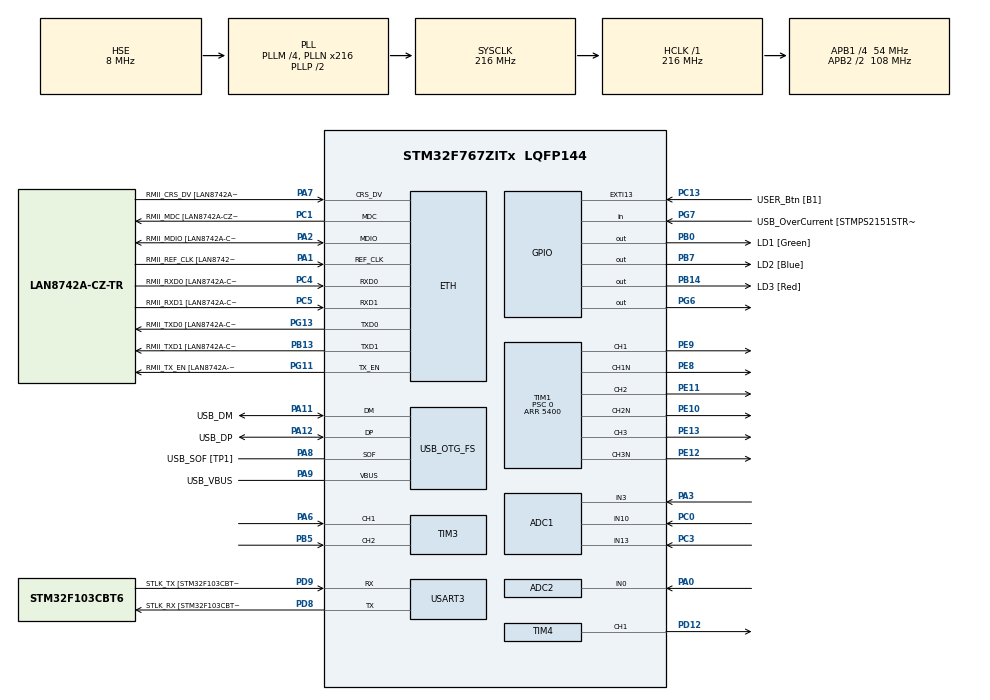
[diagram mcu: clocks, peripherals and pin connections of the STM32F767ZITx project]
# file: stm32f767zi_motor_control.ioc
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ADC1.Channel-4\#ChannelRegularConversion=ADC_CHANNEL_3
ADC1.Channel-5\#ChannelRegularConversion=ADC_CHANNEL_10
ADC1.Channel-6\#ChannelRegularConversion=ADC_CHANNEL_13
ADC1.ContinuousConvMode=ENABLE
ADC1.DMAContinuousRequests=ENABLE
ADC1.DiscontinuousConvMode=DISABLE
ADC1.EOCSelection=ADC_EOC_SEQ_CONV
ADC1.NbrOfConversion=3
ADC1.NbrOfConversionFlag=1
ADC1.Rank-4\#ChannelRegularConversion=1
ADC1.Rank-5\#ChannelRegularConversion=2
ADC1.Rank-6\#ChannelRegularConversion=3
ADC1.SamplingTime-4\#ChannelRegularConversion=ADC_SAMPLETIME_3CYCLES
ADC1.SamplingTime-5\#ChannelRegularConversion=ADC_SAMPLETIME_3CYCLES
ADC1.SamplingTime-6\#ChannelRegularConversion=ADC_SAMPLETIME_3CYCLES
ADC1.ScanConvMode=ADC_SCAN_ENABLE
ADC1.master=1
ADC2.Channel-0\#ChannelRegularConversion=ADC_CHANNEL_0
ADC2.NbrOfConversionFlag=1
ADC2.Rank-0\#ChannelRegularConversion=1
ADC2.Resolution=ADC_RESOLUTION_8B
ADC2.SamplingTime-0\#ChannelRegularConversion=ADC_SAMPLETIME_3CYCLES
Dma.ADC1.0.Direction=DMA_PERIPH_TO_MEMORY
Dma.ADC1.0.FIFOMode=DMA_FIFOMODE_DISABLE
Dma.ADC1.0.Instance=DMA2_Stream0
Dma.ADC1.0.MemDataAlignment=DMA_MDATAALIGN_WORD
Dma.ADC1.0.MemInc=DMA_MINC_ENABLE
Dma.ADC1.0.Mode=DMA_CIRCULAR
Dma.ADC1.0.PeriphDataAlignment=DMA_PDATAALIGN_WORD
Dma.ADC1.0.PeriphInc=DMA_PINC_DISABLE
Dma.ADC1.0.Priority=DMA_PRIORITY_LOW
Dma.Request0=ADC1
ETH.MediaInterface=HAL_ETH_RMII_MODE
ETH.PHY_Name=LAN8742A_PHY_ADDRESS
ETH.PHY_Value=0
ETH.PhyAddress=0
Mcu.Family=STM32F7
Mcu.Name=STM32F767ZITx
Mcu.Package=LQFP144
NVIC.PriorityGroup=NVIC_PRIORITYGROUP_4
PA0/WKUP.Signal=ADCx_IN0
PA1.GPIO_Label=RMII_REF_CLK [LAN8742A-CZ-TR_REFCLK0]
PA1.Mode=RMII
PA1.Signal=ETH_REF_CLK
PA10.GPIO_Label=USB_ID
PA10.Signal=USB_OTG_FS_ID
PA11.GPIO_Label=USB_DM
PA11.Mode=Device_Only
PA11.Signal=USB_OTG_FS_DM
PA12.GPIO_Label=USB_DP
PA12.Mode=Device_Only
PA12.Signal=USB_OTG_FS_DP
PA13.GPIO_Label=TMS
PA13.Mode=Serial_Wire
PA13.Signal=SYS_JTMS-SWDIO
PA14.GPIO_Label=TCK
PA14.Mode=Serial_Wire
PA14.Signal=SYS_JTCK-SWCLK
PA2.GPIO_Label=RMII_MDIO [LAN8742A-CZ-TR_MDIO]
PA2.Mode=RMII
PA2.Signal=ETH_MDIO
PA3.Signal=ADCx_IN3
PA6.Signal=S_TIM3_CH1
PA7.GPIO_Label=RMII_CRS_DV [LAN8742A-CZ-TR_CRS_DV]
PA7.Mode=RMII
PA7.Signal=ETH_CRS_DV
PA8.GPIO_Label=USB_SOF [TP1]
PA8.Mode=Activate_SOF_FS
PA8.Signal=USB_OTG_FS_SOF
PA9.GPIO_Label=USB_VBUS
PA9.Mode=Activate_VBUS
PA9.Signal=USB_OTG_FS_VBUS
PB0.GPIO_Label=LD1 [Green]
PB0.Signal=GPIO_Output
PB13.GPIO_Label=RMII_TXD1 [LAN8742A-CZ-TR_TXD1]
PB13.Mode=RMII
PB13.Signal=ETH_TXD1
PB14.GPIO_Label=LD3 [Red]
PB14.Signal=GPIO_Output
PB3.GPIO_Label=SWO
PB3.Signal=SYS_JTDO-SWO
PB5.Signal=S_TIM3_CH2
PB7.GPIO_Label=LD2 [Blue]
PB7.Signal=GPIO_Output
PC0.Signal=ADCx_IN10
PC1.GPIO_Label=RMII_MDC [LAN8742A-CZ-TR_MDC]
PC1.Mode=RMII
PC1.Signal=ETH_MDC
PC13.GPIO_Label=USER_Btn [B1]
PC13.Signal=GPXTI13
PC14/OSC32_IN.Mode=LSE-External-Oscillator
PC14/OSC32_IN.Signal=RCC_OSC32_IN
PC15/OSC32_OUT.Mode=LSE-External-Oscillator
PC15/OSC32_OUT.Signal=RCC_OSC32_OUT
PC3.Signal=ADCx_IN13
PC4.GPIO_Label=RMII_RXD0 [LAN8742A-CZ-TR_RXD0]
PC4.Mode=RMII
PC4.Signal=ETH_RXD0
PC5.GPIO_Label=RMII_RXD1 [LAN8742A-CZ-TR_RXD1]
PC5.Mode=RMII
PC5.Signal=ETH_RXD1
PD12.Signal=S_TIM4_CH1
PD8.GPIO_Label=STLK_RX [STM32F103CBT6_PA3]
PD8.Mode=Asynchronous
PD8.Signal=USART3_TX
PD9.GPIO_Label=STLK_TX [STM32F103CBT6_PA2]
PD9.Mode=Asynchronous
PD9.Signal=USART3_RX
PE10.Mode=PWM Generation2 CH2 CH2N
PE10.Signal=TIM1_CH2N
PE11.Signal=S_TIM1_CH2
PE12.Mode=PWM Generation3 CH3 CH3N
PE12.Signal=TIM1_CH3N
PE13.Signal=S_TIM1_CH3
PE8.Mode=PWM Generation1 CH1 CH1N
PE8.Signal=TIM1_CH1N
PE9.Signal=S_TIM1_CH1
PG11.GPIO_Label=RMII_TX_EN [LAN8742A-CZ-TR_TXEN]
PG11.Mode=RMII
PG11.Signal=ETH_TX_EN
PG13.GPIO_Label=RMII_TXD0 [LAN8742A-CZ-TR_TXD0]
PG13.Mode=RMII
PG13.Signal=ETH_TXD0
PG6.Signal=GPIO_Output
PG7.GPIO_Label=USB_OverCurrent [STMPS2151STR_FAULT]
PG7.Signal=GPIO_Input
PH0/OSC_IN.GPIO_Label=MCO [STM32F103CBT6_PA8]
PH0/OSC_IN.Mode=HSE-External-Clock-Source
PH0/OSC_IN.Signal=RCC_OSC_IN
PH1/OSC_OUT.Mode=HSE-External-Clock-Source
PH1/OSC_OUT.Signal=RCC_OSC_OUT
ProjectManager.HeapSize=0x200
ProjectManager.StackSize=0x400
ProjectManager.TargetToolchain=STM32CubeIDE
RCC.48MHZClocksFreq_Value=24000000
RCC.AHBFreq_Value=216000000
RCC.APB1CLKDivider=RCC_HCLK_DIV4
RCC.APB1Freq_Value=54000000
RCC.APB1TimFreq_Value=108000000
RCC.APB2CLKDivider=RCC_HCLK_DIV2
RCC.APB2Freq_Value=108000000
RCC.APB2TimFreq_Value=216000000
RCC.CortexFreq_Value=216000000
RCC.HCLKFreq_Value=216000000
RCC.HSE_VALUE=8000000
RCC.HSI_VALUE=16000000
RCC.PLLM=4
RCC.PLLMUL=RCC_PLL_MUL9
RCC.PLLN=216
RCC.PLLQ=9
RCC.PRESCALERUSB=RCC_USBCLKSOURCE_PLL_DIV1_5
RCC.SYSCLKFreq_VALUE=216000000
RCC.SYSCLKSource=RCC_SYSCLKSOURCE_PLLCLK
RCC.SYSCLKSourceVirtual=RCC_SYSCLKSOURCE_PLLCLK
RCC.USBFreq_Value=48000000
RCC.VCOOutputFreq_Value=432000000
SH.ADCx_IN0.0=ADC2_IN0,IN0
SH.ADCx_IN10.0=ADC1_IN10,IN10
SH.ADCx_IN13.0=ADC1_IN13,IN13
SH.ADCx_IN3.0=ADC1_IN3,IN3
SH.S_TIM1_CH1.0=TIM1_CH1,PWM Generation1 CH1 CH1N
SH.S_TIM1_CH2.0=TIM1_CH2,PWM Generation2 CH2 CH2N
SH.S_TIM1_CH3.0=TIM1_CH3,PWM Generation3 CH3 CH3N
SH.S_TIM3_CH1.0=TIM3_CH1,Encoder_Interface
SH.S_TIM3_CH2.0=TIM3_CH2,Encoder_Interface
SH.S_TIM4_CH1.0=TIM4_CH1,PWM Generation1 CH1
TIM1.AutoReloadPreload=TIM_AUTORELOAD_PRELOAD_ENABLE
TIM1.Channel-PWM\ Generation1\ CH1\ CH1N=TIM_CHANNEL_1
TIM1.Channel-PWM\ Generation2\ CH2\ CH2N=TIM_CHANNEL_2
TIM1.Channel-PWM\ Generation3\ CH3\ CH3N=TIM_CHANNEL_3
TIM1.CounterMode=TIM_COUNTERMODE_CENTERALIGNED3
TIM1.DeadTime=149
TIM1.OCNPolarity_1=TIM_OCNPOLARITY_LOW
TIM1.OCNPolarity_2=TIM_OCNPOLARITY_LOW
TIM1.OCNPolarity_3=TIM_OCNPOLARITY_LOW
TIM1.OCPolarity_1=TIM_OCPOLARITY_LOW
TIM1.OCPolarity_2=TIM_OCPOLARITY_LOW
TIM1.OCPolarity_3=TIM_OCPOLARITY_LOW
TIM1.Period=5400
TIM1.Prescaler=0
TIM2.Prescaler=107
TIM3.AutoReloadPreload=TIM_AUTORELOAD_PRELOAD_ENABLE
TIM3.EncoderMode=TIM_ENCODERMODE_TI12
TIM4.AutoReloadPreload=TIM_AUTORELOAD_PRELOAD_ENABLE
TIM4.Channel-PWM\ Generation1\ CH1=TIM_CHANNEL_1
TIM4.Period=599
TIM4.Prescaler=2999
TIM4.Pulse-PWM\ Generation1\ CH1=150
USART3.VirtualMode-Asynchronous=VM_ASYNC
USB_OTG_FS.VirtualMode=Device_Only
VP_TIM1_VS_ClockSourceINT.Mode=Internal
VP_TIM2_VS_ClockSourceINT.Mode=Internal
VP_TIM4_VS_ClockSourceINT.Mode=Internal
board=NUCLEO-F767ZI

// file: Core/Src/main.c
/* USER CODE BEGIN Header */
/**
 ******************************************************************************
 * @file           : main.c
 * @brief          : VFD open-loop control code by sine wave PWM
 ******************************************************************************
 * @attention
 *
 * Copyright (c) 2025 STMicroelectronics.
 * All rights reserved.
 *
 * This software is licensed under terms that can be found in the LICENSE file
 * in the root directory of this software component.
 * If no LICENSE file comes with this software, it is provided AS-IS.
 *
 * Extended by: Ada Li
 *
 ******************************************************************************
 */
/* USER CODE END Header */
#include "main.h"
#include "string.h"

/* USER CODE BEGIN Includes */
#include "SEGGER_RTT.h"
#include <math.h>
/* USER CODE END Includes */

/* USER CODE BEGIN PTD */
typedef struct {
    float Kp, Ki, Kd;
    float prevError, integral;
    float output, maxOutput, minOutput;
} PIDController;

typedef struct {
    float Kp, Ki;
    float prevError, integral;
    float output, maxOutput, minOutput;
} PIController;
/* USER CODE END PTD */

/* USER CODE BEGIN PD */
// #define NRF_LOG_USES_RTT 1;
/* USER CODE END PD */

#if defined ( __ICCARM__ ) /*!< IAR Compiler */
#pragma location=0x2007c000
ETH_DMADescTypeDef  DMARxDscrTab[ETH_RX_DESC_CNT]; /* Ethernet Rx DMA Descriptors */
#pragma location=0x2007c0a0
ETH_DMADescTypeDef  DMATxDscrTab[ETH_TX_DESC_CNT]; /* Ethernet Tx DMA Descriptors */

#elif defined ( __CC_ARM )  /* MDK ARM Compiler */

__attribute__((at(0x2007c000))) ETH_DMADescTypeDef  DMARxDscrTab[ETH_RX_DESC_CNT]; /* Ethernet Rx DMA Descriptors */
__attribute__((at(0x2007c0a0))) ETH_DMADescTypeDef  DMATxDscrTab[ETH_TX_DESC_CNT]; /* Ethernet Tx DMA Descriptors */

#elif defined ( __GNUC__ ) /* GNU Compiler */

ETH_DMADescTypeDef DMARxDscrTab[ETH_RX_DESC_CNT] __attribute__((section(".RxDecripSection"))); /* Ethernet Rx DMA Descriptors */
ETH_DMADescTypeDef DMATxDscrTab[ETH_TX_DESC_CNT] __attribute__((section(".TxDecripSection")));   /* Ethernet Tx DMA Descriptors */
#endif

ETH_TxPacketConfig TxConfig;

ADC_HandleTypeDef hadc1;
ADC_HandleTypeDef hadc2;
DMA_HandleTypeDef hdma_adc1;

ETH_HandleTypeDef heth;

TIM_HandleTypeDef htim1;
TIM_HandleTypeDef htim2;
TIM_HandleTypeDef htim3;
TIM_HandleTypeDef htim4;

UART_HandleTypeDef huart3;

PCD_HandleTypeDef hpcd_USB_OTG_FS;

/* USER CODE BEGIN PV */
uint32_t AD_RES_BUFFER[3];	// circular buffer, 3 in-use ADC channels

uint32_t ARR = 5400;
const uint32_t N = 600;	// period, ticks per electrical cycle (60 hz / prescale 3000)
// to change frequency, keep ARR constant and vary prescale
const uint32_t phase_shift = N / 3;

// TODO: WARNING: I've repurposed freqset to adjust Rr_Lr!!!!!!!!
const uint32_t freqset_min = 1;
const uint32_t freqset_max = 1000;
uint32_t freqset = freqset_min;

const float volts_to_amps = 24.39;
const int volts_to_milliamps = (int) (volts_to_amps * 1000);

int speed_rpm = 0;
int i1_milliamps = 0;
int i2_milliamps = 0;
int i3_milliamps = 0;

// IFOC variables
const float POWER_RAIL = 100.0f;
float Rr_Lr = 0.7 / 0.003; // ESTIMATE!!
float theta_r = 0;
float theta_s = 0;
float theta_m = 0;
float i_d =  0;
float i_q = 0;
float v_d = 0;
float v_q = 0;
volatile float i_d_des = 0;
volatile float i_q_des = 0;
PIDController speed_pid = { .Kp = 1.0f, .Ki = 0.0f, .Kd = 0.0f, .maxOutput = 100.0f, .minOutput = -100.0f };
PIController vd_pi = { .Kp = 50.0f, .Ki = 0.0f, .maxOutput = 50.0f, .minOutput = -50.0f };
PIController vq_pi = { .Kp = 50.0f, .Ki = 0.0f, .maxOutput = 50.0f, .minOutput = -50.0f };
int16_t encoder_pulses = 0;
int16_t prev_encoder_pulses = 0;
float theta = 0;

/* USER CODE END PV */

void SystemClock_Config(void);
static void MX_GPIO_Init(void);
static void MX_DMA_Init(void);
static void MX_ADC1_Init(void);
static void MX_ETH_Init(void);
static void MX_TIM1_Init(void);
static void MX_USART3_UART_Init(void);
static void MX_USB_OTG_FS_PCD_Init(void);
static void MX_TIM4_Init(void);
static void MX_ADC2_Init(void);
static void MX_TIM2_Init(void);
static void MX_TIM3_Init(void);
/* USER CODE BEGIN PFP */
//int approx_duty_cycle(int x);
float PID_Compute(PIDController *pid, float setpoint, float feedback, float dt);
float PI_Compute(PIController *pi, float setpoint, float feedback, float dt);
/* USER CODE END PFP */

/* USER CODE BEGIN 0 */
/**
 * x between 0 and N/2, where N is the values in a full period
 * return between 0 and ARR-1
 */
//int approx_duty_cycle(int x) {
//	long numerator = (32*N - 64*x)*x;
//	numerator = numerator * (ARR-1) / 3;
//	int denominator = 5*N*N - 8*N*x + 16*x*x;
//	int sine = (int) (numerator / denominator);
//	return ARR / 2 + sine;
//}

/* USER CODE END 0 */

int main(void)
{

  /* USER CODE BEGIN 1 */
	// Initialize the sine wave values
//	int DUTY_CYCLE_VALUES[N];	// At 20kHz PWM, ARR is 5400
//	for (int i = 0; i < N/2; i++) {
//		int dc = approx_duty_cycle(i);
//		DUTY_CYCLE_VALUES[i] = dc;
//		DUTY_CYCLE_VALUES[i + N/2] = -dc;
//		SEGGER_RTT_printf(0, "%u\r\n", dc);
//	}
//	float pi = 3.1415926;
//	for (int i = 0; i < N; i++) {
//		DUTY_CYCLE_VALUES[i] = ARR/2 + (int) ((ARR-1)*sin(2*pi*i / N)/2);
//	}

  /* USER CODE END 1 */

  /* MCU Configuration--------------------------------------------------------*/

  /* Reset of all peripherals, Initializes the Flash interface and the Systick. */
  HAL_Init();

  /* Configure the system clock */
  SystemClock_Config();

  /* Initialize all configured peripherals */
  MX_GPIO_Init();
  MX_DMA_Init();
  MX_ADC1_Init();
  MX_ETH_Init();
  MX_TIM1_Init();
  MX_USART3_UART_Init();
  MX_USB_OTG_FS_PCD_Init();
  MX_TIM4_Init();
  MX_ADC2_Init();
  MX_TIM2_Init();
  MX_TIM3_Init();
  /* USER CODE BEGIN 2 */

	HAL_TIM_PWM_Start(&htim1, TIM_CHANNEL_1);
	HAL_TIMEx_PWMN_Start(&htim1, TIM_CHANNEL_1);
	HAL_TIM_PWM_Start(&htim1, TIM_CHANNEL_2);
	HAL_TIMEx_PWMN_Start(&htim1, TIM_CHANNEL_2);
	HAL_TIM_PWM_Start(&htim1, TIM_CHANNEL_3);
	HAL_TIMEx_PWMN_Start(&htim1, TIM_CHANNEL_3);
	HAL_ADC_Start_DMA(&hadc1, AD_RES_BUFFER, 3);
	HAL_TIM_Encoder_Start(&htim3, TIM_CHANNEL_ALL);
	HAL_TIM_PWM_Start(&htim4, TIM_CHANNEL_1);
	HAL_TIM_Base_Start(&htim2);

  /* USER CODE END 2 */

  /* Infinite loop */
  /* USER CODE BEGIN WHILE */
	uint32_t count = 0;
	TIM2->CNT = 0;

	while (1)
	{
//		uint32_t time_N = TIM4->CNT;
		int i1_raw = AD_RES_BUFFER[0];
		int i2_raw = AD_RES_BUFFER[1];
		int i3_raw = AD_RES_BUFFER[2];

		i1_milliamps = ((i1_raw - 2048) * volts_to_milliamps)/4095;
		i2_milliamps = ((i2_raw - 2048) * volts_to_milliamps)/4095;
		i3_milliamps = ((i3_raw - 2048) * volts_to_milliamps)/4095;

//		TIM1->CCR1 = DUTY_CYCLE_VALUES[time_N];
//		TIM1->CCR2 = DUTY_CYCLE_VALUES[(time_N + phase_shift) % N];
//		TIM1->CCR3 = DUTY_CYCLE_VALUES[(time_N + 2*phase_shift) % N];

		// Write to channel 0, see in J-Link RTT Viewer or telnet client
		if (TIM2->CNT > 50) {	// microseconds
			TIM2->CNT = 0;

			// TODO: take this out of the control loop to a slower loop  or limit execution. Also the ADC reading is super noisy
			HAL_ADC_Start(&hadc2);
			HAL_ADC_PollForConversion(&hadc2, 1);
			uint32_t ad2_res = HAL_ADC_GetValue(&hadc2);	// 0 to 255; linmap to speed 30->120
			freqset = freqset_min + (ad2_res * (freqset_max - freqset_min)) / 255;
			Rr_Lr = freqset;

//			TIM4->PSC = 108000000 / (N * freqset);

			// encoder pulses -> speed
//			int tim3cnt = TIM3->CNT;
//			int encoder_pulses = (tim3cnt < 32768) ? tim3cnt : -(65536-tim3cnt);
			encoder_pulses = TIM3->CNT;
//			prev_encoder_pulses = encoder_pulses;
//			TIM3->CNT = 0;
			int speed_loop_time_micros = TIM2->CNT;
			// Conversion const: 1000000 us/s * 60 s/min / 1200 pulses per rev = 50000
			speed_rpm = (encoder_pulses * 50000) / (speed_loop_time_micros + 1);	// will overflow at > 42948 pulses or 35.79 rev/s or 2147 rpm

			// TODO: REMOVE LATER, for finding Rr_Lr we set d and q currents equal (amps)
			// TODO: Also, we probably need a better force measuring setup than the spring or use the big ps since not enough force
			// TODO: The adc current readings may also be noisy
			i_d_des = 1.0f;
			i_q_des = 1.0f;

			// TODO: Redundant conversion for now (to amps)
			float i_a = (float)i1_milliamps / 1000.0f;
			float i_b = (float)i2_milliamps / 1000.0f;
			float i_c = (float)i3_milliamps / 1000.0f;
			float dt = (float)speed_loop_time_micros / 1000000.0f;

			// Convert to encoder angle (2400 pulses per rev)
			// Then angle * R = 50mm = distance
			// Finally distance / (2 * pitch length) * 2pi = rotor "mechanical angle"
			// TODO: check that this is right (maybe by finding synchronous speed??
			theta_m = (double)encoder_pulses / 2400.0 * 2.0*M_PI * 50.0 / 67.0 * 2.0*M_PI;
			theta_m = fmod(theta_m, 2.0 * M_PI);
			if (theta_m < 0) theta_m += 2.0 * M_PI;

			// https://ww1.microchip.com/downloads/aemdocuments/documents/fpga/ProductDocuments/UserGuides/sf2_mc_park_invpark_clarke_invclarke_transforms_ug.pdf
			// Clarke transform (a, b, c to alpha, beta)
			float i_alpha = 2.0f/3.0f * i_a - 1.0f/3.0f * (i_b - i_c);
			float i_beta = 2.0f/sqrtf(3) * (i_b - i_c);

			// Park transform (d is flux, q is thrust)
			i_d = i_alpha * cosf(theta_r) + i_beta * sinf(theta_r);
			i_q = i_beta * cosf(theta_r) - i_alpha * sinf(theta_r);

			// Then, update rotor flux angle (and keep everything [0, 2pi))
			// TODO: maybe need to multiply Rr_Lr by a few orders of magnitude
			theta_s += (Rr_Lr * i_q / (i_d + 0.000001)) * dt;
			theta_s = fmod(theta_s, 2.0 * M_PI);
			if (theta_s < 0) theta_s += 2.0 * M_PI;

			theta_r = theta_m + theta_s;

			// Run PI loop to get v_d and v_q
			v_d = PI_Compute(&vd_pi, i_d_des, i_d, dt);
			v_q = PI_Compute(&vq_pi, i_q_des, i_q, dt);

			// Get theta_v
			float theta_v = atan2f(v_q, v_d);
			if (theta_v < 0) {
				theta_v += 2.0f * M_PI;  // Convert to [0, 2π)
			}

			// Then add theta_v and theta_r to get the angle of the voltage phasor
			theta = theta_v + theta_r;
			theta = fmod(theta, 2.0 * M_PI);
			if (theta < 0) theta += 2.0 * M_PI;
			float v_magnitude = sqrtf(v_q * v_q + v_d * v_d);
//			theta += M_PI*2 * 100.0f/20000.0f;
//			v_magnitude = 50.0f;

			// NOW, INPUT INTO SVPWM ALGORITHM (the code below is tested and works):

			float duty_cycle_a = 0;
			float duty_cycle_b = 0;
			float duty_cycle_c = 0;

			// Not quite inverse Park transform...
			float v_alpha = v_magnitude/POWER_RAIL * cosf(theta);
			float v_beta = v_magnitude/POWER_RAIL * sinf(theta);

			// Get region (labelled 1-6 CCW from x axis)
			int region;
			if (v_beta > 0) {
				if (v_alpha > 0) {
					if (v_beta > v_alpha * sqrtf(3)) { // Just use basic trig to find if it is in region 1
						region = 2;
					}
					else {
						region = 1; // Covers half of region 2
					}
				}
				else  {
					if (v_beta > -v_alpha * sqrtf(3)) {
						region = 2; // The other half
					}
					else {
						region = 3;
					}
				}
			}
			else {
				if (v_alpha > 0) {
					if (-v_beta > v_alpha * sqrt(3)) {
						region = 5;
					}
					else {
						region = 6;
					}
				}
				else {
					if (-v_beta > -v_alpha * sqrt(3)) {
						region = 5;
					}
					else {
						region = 4;
					}
				}
			}

			// T1 and T2 are times in the two states, and T0 is time in zero vector
			// https://e2e.ti.com/cfs-file/__key/communityserver-discussions-components-files/171/SpaceVectorPulseWidthModulationTechnique.pdf
			float T2 = 3.0/M_PI * v_magnitude/POWER_RAIL * sinf(theta);
			float T1 = 3.0*sqrtf(3)/(2*M_PI) * v_magnitude/POWER_RAIL * cosf(theta) - T2/2;
			float T0 = 1 - (T1 + T2);

			switch (region) {
				case 1: {
					duty_cycle_a = T1 + T2 + T0/2;
					duty_cycle_b = T2 + T0/2;
					duty_cycle_c = T0/2;
				} break;
				case 2: {
					duty_cycle_a = T1 + T0/2;
					duty_cycle_b = T1 + T2 + T0/2;
					duty_cycle_c = T0/2;
				} break;
				case 3: {
					duty_cycle_a = T0/2;
					duty_cycle_b = T1 + T2 + T0/2;
					duty_cycle_c = T2 + T0/2;
				} break;
				case 4: {
					duty_cycle_a = T0/2;
					duty_cycle_b = T1 + T0/2;
					duty_cycle_c = T1 + T2 + T0/2;
				} break;
				case 5: {
					duty_cycle_a = T2 + T0/2;
					duty_cycle_b = T0/2;
					duty_cycle_c = T1 + T2 + T0/2;
				} break;
				case 6: {
					duty_cycle_a = T1 + T2 + T0/2;
					duty_cycle_b = T0/2;
					duty_cycle_c = T1 + T0/2;
				} break;
			}

			// Set duty cycle
			TIM1->CCR1 = (uint32_t) ((float)ARR * duty_cycle_a);
			TIM1->CCR2 = (uint32_t) ((float)ARR * duty_cycle_b);
			TIM1->CCR3 = (uint32_t) ((float)ARR * duty_cycle_c);

			// SEGGER_RTT_WriteString(0, "Hello world!\r\n");
	//			SEGGER_RTT_printf(0, "Oversample %u, Hz %u, rpm %d \r\n", count/20000, freqset, speed_rpm);
	//			HAL_GPIO_TogglePin(GPIOB, GPIO_PIN_0);
	//			HAL_GPIO_TogglePin(GPIOB, GPIO_PIN_7);
	//			HAL_GPIO_TogglePin(GPIOB, GPIO_PIN_14);
			count = 0;
		}
		count++;

	}
    /* USER CODE END WHILE */

}

void SystemClock_Config(void)
{
  RCC_OscInitTypeDef RCC_OscInitStruct = {0};
  RCC_ClkInitTypeDef RCC_ClkInitStruct = {0};

  /** Configure LSE Drive Capability
  */
  HAL_PWR_EnableBkUpAccess();

  /** Configure the main internal regulator output voltage
  */
  __HAL_RCC_PWR_CLK_ENABLE();
  __HAL_PWR_VOLTAGESCALING_CONFIG(PWR_REGULATOR_VOLTAGE_SCALE1);

  /** Initializes the RCC Oscillators according to the specified parameters
  * in the RCC_OscInitTypeDef structure.
  */
  RCC_OscInitStruct.OscillatorType = RCC_OSCILLATORTYPE_HSE;
  RCC_OscInitStruct.HSEState = RCC_HSE_BYPASS;
  RCC_OscInitStruct.PLL.PLLState = RCC_PLL_ON;
  RCC_OscInitStruct.PLL.PLLSource = RCC_PLLSOURCE_HSE;
  RCC_OscInitStruct.PLL.PLLM = 4;
  RCC_OscInitStruct.PLL.PLLN = 216;
  RCC_OscInitStruct.PLL.PLLP = RCC_PLLP_DIV2;
  RCC_OscInitStruct.PLL.PLLQ = 9;
  RCC_OscInitStruct.PLL.PLLR = 2;
  if (HAL_RCC_OscConfig(&RCC_OscInitStruct) != HAL_OK)
  {
    Error_Handler();
  }

  /** Activate the Over-Drive mode
  */
  if (HAL_PWREx_EnableOverDrive() != HAL_OK)
  {
    Error_Handler();
  }

  /** Initializes the CPU, AHB and APB buses clocks
  */
  RCC_ClkInitStruct.ClockType = RCC_CLOCKTYPE_HCLK|RCC_CLOCKTYPE_SYSCLK
                              |RCC_CLOCKTYPE_PCLK1|RCC_CLOCKTYPE_PCLK2;
  RCC_ClkInitStruct.SYSCLKSource = RCC_SYSCLKSOURCE_PLLCLK;
  RCC_ClkInitStruct.AHBCLKDivider = RCC_SYSCLK_DIV1;
  RCC_ClkInitStruct.APB1CLKDivider = RCC_HCLK_DIV4;
  RCC_ClkInitStruct.APB2CLKDivider = RCC_HCLK_DIV2;

  if (HAL_RCC_ClockConfig(&RCC_ClkInitStruct, FLASH_LATENCY_7) != HAL_OK)
  {
    Error_Handler();
  }
}

static void MX_ADC1_Init(void)
{

  ADC_ChannelConfTypeDef sConfig = {0};

  /** Configure the global features of the ADC (Clock, Resolution, Data Alignment and number of conversion)
  */
  hadc1.Instance = ADC1;
  hadc1.Init.ClockPrescaler = ADC_CLOCK_SYNC_PCLK_DIV4;
  hadc1.Init.Resolution = ADC_RESOLUTION_12B;
  hadc1.Init.ScanConvMode = ADC_SCAN_ENABLE;
  hadc1.Init.ContinuousConvMode = ENABLE;
  hadc1.Init.DiscontinuousConvMode = DISABLE;
  hadc1.Init.ExternalTrigConvEdge = ADC_EXTERNALTRIGCONVEDGE_NONE;
  hadc1.Init.ExternalTrigConv = ADC_SOFTWARE_START;
  hadc1.Init.DataAlign = ADC_DATAALIGN_RIGHT;
  hadc1.Init.NbrOfConversion = 3;
  hadc1.Init.DMAContinuousRequests = ENABLE;
  hadc1.Init.EOCSelection = ADC_EOC_SEQ_CONV;
  if (HAL_ADC_Init(&hadc1) != HAL_OK)
  {
    Error_Handler();
  }

  /** Configure for the selected ADC regular channel its corresponding rank in the sequencer and its sample time.
  */
  sConfig.Channel = ADC_CHANNEL_3;
  sConfig.Rank = ADC_REGULAR_RANK_1;
  sConfig.SamplingTime = ADC_SAMPLETIME_3CYCLES;
  if (HAL_ADC_ConfigChannel(&hadc1, &sConfig) != HAL_OK)
  {
    Error_Handler();
  }

  /** Configure for the selected ADC regular channel its corresponding rank in the sequencer and its sample time.
  */
  sConfig.Channel = ADC_CHANNEL_10;
  sConfig.Rank = ADC_REGULAR_RANK_2;
  if (HAL_ADC_ConfigChannel(&hadc1, &sConfig) != HAL_OK)
  {
    Error_Handler();
  }

  /** Configure for the selected ADC regular channel its corresponding rank in the sequencer and its sample time.
  */
  sConfig.Channel = ADC_CHANNEL_13;
  sConfig.Rank = ADC_REGULAR_RANK_3;
  if (HAL_ADC_ConfigChannel(&hadc1, &sConfig) != HAL_OK)
  {
    Error_Handler();
  }

}

static void MX_ADC2_Init(void)
{

  ADC_ChannelConfTypeDef sConfig = {0};

  /** Configure the global features of the ADC (Clock, Resolution, Data Alignment and number of conversion)
  */
  hadc2.Instance = ADC2;
  hadc2.Init.ClockPrescaler = ADC_CLOCK_SYNC_PCLK_DIV4;
  hadc2.Init.Resolution = ADC_RESOLUTION_8B;
  hadc2.Init.ScanConvMode = ADC_SCAN_DISABLE;
  hadc2.Init.ContinuousConvMode = DISABLE;
  hadc2.Init.DiscontinuousConvMode = DISABLE;
  hadc2.Init.ExternalTrigConvEdge = ADC_EXTERNALTRIGCONVEDGE_NONE;
  hadc2.Init.ExternalTrigConv = ADC_SOFTWARE_START;
  hadc2.Init.DataAlign = ADC_DATAALIGN_RIGHT;
  hadc2.Init.NbrOfConversion = 1;
  hadc2.Init.DMAContinuousRequests = DISABLE;
  hadc2.Init.EOCSelection = ADC_EOC_SINGLE_CONV;
  if (HAL_ADC_Init(&hadc2) != HAL_OK)
  {
    Error_Handler();
  }

  /** Configure for the selected ADC regular channel its corresponding rank in the sequencer and its sample time.
  */
  sConfig.Channel = ADC_CHANNEL_0;
  sConfig.Rank = ADC_REGULAR_RANK_1;
  sConfig.SamplingTime = ADC_SAMPLETIME_3CYCLES;
  if (HAL_ADC_ConfigChannel(&hadc2, &sConfig) != HAL_OK)
  {
    Error_Handler();
  }

}

static void MX_ETH_Init(void)
{

   static uint8_t MACAddr[6];

  heth.Instance = ETH;
  MACAddr[0] = 0x00;
  MACAddr[1] = 0x80;
  MACAddr[2] = 0xE1;
  MACAddr[3] = 0x00;
  MACAddr[4] = 0x00;
  MACAddr[5] = 0x00;
  heth.Init.MACAddr = &MACAddr[0];
  heth.Init.MediaInterface = HAL_ETH_RMII_MODE;
  heth.Init.TxDesc = DMATxDscrTab;
  heth.Init.RxDesc = DMARxDscrTab;
  heth.Init.RxBuffLen = 1524;

  if (HAL_ETH_Init(&heth) != HAL_OK)
  {
    Error_Handler();
  }

  memset(&TxConfig, 0 , sizeof(ETH_TxPacketConfig));
  TxConfig.Attributes = ETH_TX_PACKETS_FEATURES_CSUM | ETH_TX_PACKETS_FEATURES_CRCPAD;
  TxConfig.ChecksumCtrl = ETH_CHECKSUM_IPHDR_PAYLOAD_INSERT_PHDR_CALC;
  TxConfig.CRCPadCtrl = ETH_CRC_PAD_INSERT;

}

static void MX_TIM1_Init(void)
{

  TIM_ClockConfigTypeDef sClockSourceConfig = {0};
  TIM_MasterConfigTypeDef sMasterConfig = {0};
  TIM_OC_InitTypeDef sConfigOC = {0};
  TIM_BreakDeadTimeConfigTypeDef sBreakDeadTimeConfig = {0};

  htim1.Instance = TIM1;
  htim1.Init.Prescaler = 0;
  htim1.Init.CounterMode = TIM_COUNTERMODE_CENTERALIGNED3;
  htim1.Init.Period = 5400;
  htim1.Init.ClockDivision = TIM_CLOCKDIVISION_DIV1;
  htim1.Init.RepetitionCounter = 0;
  htim1.Init.AutoReloadPreload = TIM_AUTORELOAD_PRELOAD_ENABLE;
  if (HAL_TIM_Base_Init(&htim1) != HAL_OK)
  {
    Error_Handler();
  }
  sClockSourceConfig.ClockSource = TIM_CLOCKSOURCE_INTERNAL;
  if (HAL_TIM_ConfigClockSource(&htim1, &sClockSourceConfig) != HAL_OK)
  {
    Error_Handler();
  }
  if (HAL_TIM_PWM_Init(&htim1) != HAL_OK)
  {
    Error_Handler();
  }
  sMasterConfig.MasterOutputTrigger = TIM_TRGO_RESET;
  sMasterConfig.MasterOutputTrigger2 = TIM_TRGO2_RESET;
  sMasterConfig.MasterSlaveMode = TIM_MASTERSLAVEMODE_DISABLE;
  if (HAL_TIMEx_MasterConfigSynchronization(&htim1, &sMasterConfig) != HAL_OK)
  {
    Error_Handler();
  }
  sConfigOC.OCMode = TIM_OCMODE_PWM1;
  sConfigOC.Pulse = 0;
  sConfigOC.OCPolarity = TIM_OCPOLARITY_LOW;
  sConfigOC.OCNPolarity = TIM_OCNPOLARITY_LOW;
  sConfigOC.OCFastMode = TIM_OCFAST_DISABLE;
  sConfigOC.OCIdleState = TIM_OCIDLESTATE_RESET;
  sConfigOC.OCNIdleState = TIM_OCNIDLESTATE_RESET;
  if (HAL_TIM_PWM_ConfigChannel(&htim1, &sConfigOC, TIM_CHANNEL_1) != HAL_OK)
  {
    Error_Handler();
  }
  if (HAL_TIM_PWM_ConfigChannel(&htim1, &sConfigOC, TIM_CHANNEL_2) != HAL_OK)
  {
    Error_Handler();
  }
  if (HAL_TIM_PWM_ConfigChannel(&htim1, &sConfigOC, TIM_CHANNEL_3) != HAL_OK)
  {
    Error_Handler();
  }
  sBreakDeadTimeConfig.OffStateRunMode = TIM_OSSR_DISABLE;
  sBreakDeadTimeConfig.OffStateIDLEMode = TIM_OSSI_DISABLE;
  sBreakDeadTimeConfig.LockLevel = TIM_LOCKLEVEL_OFF;
  sBreakDeadTimeConfig.DeadTime = 149;
  sBreakDeadTimeConfig.BreakState = TIM_BREAK_DISABLE;
  sBreakDeadTimeConfig.BreakPolarity = TIM_BREAKPOLARITY_HIGH;
  sBreakDeadTimeConfig.BreakFilter = 0;
  sBreakDeadTimeConfig.Break2State = TIM_BREAK2_DISABLE;
  sBreakDeadTimeConfig.Break2Polarity = TIM_BREAK2POLARITY_HIGH;
  sBreakDeadTimeConfig.Break2Filter = 0;
  sBreakDeadTimeConfig.AutomaticOutput = TIM_AUTOMATICOUTPUT_DISABLE;
  if (HAL_TIMEx_ConfigBreakDeadTime(&htim1, &sBreakDeadTimeConfig) != HAL_OK)
  {
    Error_Handler();
  }
  HAL_TIM_MspPostInit(&htim1);

}

static void MX_TIM2_Init(void)
{

  TIM_ClockConfigTypeDef sClockSourceConfig = {0};
  TIM_MasterConfigTypeDef sMasterConfig = {0};

  htim2.Instance = TIM2;
  htim2.Init.Prescaler = 107;
  htim2.Init.CounterMode = TIM_COUNTERMODE_UP;
  htim2.Init.Period = 4294967295;
  htim2.Init.ClockDivision = TIM_CLOCKDIVISION_DIV1;
  htim2.Init.AutoReloadPreload = TIM_AUTORELOAD_PRELOAD_DISABLE;
  if (HAL_TIM_Base_Init(&htim2) != HAL_OK)
  {
    Error_Handler();
  }
  sClockSourceConfig.ClockSource = TIM_CLOCKSOURCE_INTERNAL;
  if (HAL_TIM_ConfigClockSource(&htim2, &sClockSourceConfig) != HAL_OK)
  {
    Error_Handler();
  }
  sMasterConfig.MasterOutputTrigger = TIM_TRGO_RESET;
  sMasterConfig.MasterSlaveMode = TIM_MASTERSLAVEMODE_DISABLE;
  if (HAL_TIMEx_MasterConfigSynchronization(&htim2, &sMasterConfig) != HAL_OK)
  {
    Error_Handler();
  }

}

static void MX_TIM3_Init(void)
{

  TIM_Encoder_InitTypeDef sConfig = {0};
  TIM_MasterConfigTypeDef sMasterConfig = {0};

  htim3.Instance = TIM3;
  htim3.Init.Prescaler = 0;
  htim3.Init.CounterMode = TIM_COUNTERMODE_UP;
  htim3.Init.Period = 65535;
  htim3.Init.ClockDivision = TIM_CLOCKDIVISION_DIV1;
  htim3.Init.AutoReloadPreload = TIM_AUTORELOAD_PRELOAD_ENABLE;
  sConfig.EncoderMode = TIM_ENCODERMODE_TI12;
  sConfig.IC1Polarity = TIM_ICPOLARITY_RISING;
  sConfig.IC1Selection = TIM_ICSELECTION_DIRECTTI;
  sConfig.IC1Prescaler = TIM_ICPSC_DIV1;
  sConfig.IC1Filter = 0;
  sConfig.IC2Polarity = TIM_ICPOLARITY_RISING;
  sConfig.IC2Selection = TIM_ICSELECTION_DIRECTTI;
  sConfig.IC2Prescaler = TIM_ICPSC_DIV1;
  sConfig.IC2Filter = 0;
  if (HAL_TIM_Encoder_Init(&htim3, &sConfig) != HAL_OK)
  {
    Error_Handler();
  }
  sMasterConfig.MasterOutputTrigger = TIM_TRGO_RESET;
  sMasterConfig.MasterSlaveMode = TIM_MASTERSLAVEMODE_DISABLE;
  if (HAL_TIMEx_MasterConfigSynchronization(&htim3, &sMasterConfig) != HAL_OK)
  {
    Error_Handler();
  }

}

static void MX_TIM4_Init(void)
{

  TIM_ClockConfigTypeDef sClockSourceConfig = {0};
  TIM_MasterConfigTypeDef sMasterConfig = {0};
  TIM_OC_InitTypeDef sConfigOC = {0};

  htim4.Instance = TIM4;
  htim4.Init.Prescaler = 2999;
  htim4.Init.CounterMode = TIM_COUNTERMODE_UP;
  htim4.Init.Period = 599;
  htim4.Init.ClockDivision = TIM_CLOCKDIVISION_DIV1;
  htim4.Init.AutoReloadPreload = TIM_AUTORELOAD_PRELOAD_ENABLE;
  if (HAL_TIM_Base_Init(&htim4) != HAL_OK)
  {
    Error_Handler();
  }
  sClockSourceConfig.ClockSource = TIM_CLOCKSOURCE_INTERNAL;
  if (HAL_TIM_ConfigClockSource(&htim4, &sClockSourceConfig) != HAL_OK)
  {
    Error_Handler();
  }
  if (HAL_TIM_PWM_Init(&htim4) != HAL_OK)
  {
    Error_Handler();
  }
  sMasterConfig.MasterOutputTrigger = TIM_TRGO_RESET;
  sMasterConfig.MasterSlaveMode = TIM_MASTERSLAVEMODE_DISABLE;
  if (HAL_TIMEx_MasterConfigSynchronization(&htim4, &sMasterConfig) != HAL_OK)
  {
    Error_Handler();
  }
  sConfigOC.OCMode = TIM_OCMODE_PWM1;
  sConfigOC.Pulse = 150;
  sConfigOC.OCPolarity = TIM_OCPOLARITY_HIGH;
  sConfigOC.OCFastMode = TIM_OCFAST_DISABLE;
  if (HAL_TIM_PWM_ConfigChannel(&htim4, &sConfigOC, TIM_CHANNEL_1) != HAL_OK)
  {
    Error_Handler();
  }
  HAL_TIM_MspPostInit(&htim4);

}

static void MX_USART3_UART_Init(void)
{

  huart3.Instance = USART3;
  huart3.Init.BaudRate = 115200;
  huart3.Init.WordLength = UART_WORDLENGTH_8B;
  huart3.Init.StopBits = UART_STOPBITS_1;
  huart3.Init.Parity = UART_PARITY_NONE;
  huart3.Init.Mode = UART_MODE_TX_RX;
  huart3.Init.HwFlowCtl = UART_HWCONTROL_NONE;
  huart3.Init.OverSampling = UART_OVERSAMPLING_16;
  huart3.Init.OneBitSampling = UART_ONE_BIT_SAMPLE_DISABLE;
  huart3.AdvancedInit.AdvFeatureInit = UART_ADVFEATURE_NO_INIT;
  if (HAL_UART_Init(&huart3) != HAL_OK)
  {
    Error_Handler();
  }

}

static void MX_USB_OTG_FS_PCD_Init(void)
{

  hpcd_USB_OTG_FS.Instance = USB_OTG_FS;
  hpcd_USB_OTG_FS.Init.dev_endpoints = 6;
  hpcd_USB_OTG_FS.Init.speed = PCD_SPEED_FULL;
  hpcd_USB_OTG_FS.Init.dma_enable = DISABLE;
  hpcd_USB_OTG_FS.Init.phy_itface = PCD_PHY_EMBEDDED;
  hpcd_USB_OTG_FS.Init.Sof_enable = ENABLE;
  hpcd_USB_OTG_FS.Init.low_power_enable = DISABLE;
  hpcd_USB_OTG_FS.Init.lpm_enable = DISABLE;
  hpcd_USB_OTG_FS.Init.vbus_sensing_enable = ENABLE;
  hpcd_USB_OTG_FS.Init.use_dedicated_ep1 = DISABLE;
  if (HAL_PCD_Init(&hpcd_USB_OTG_FS) != HAL_OK)
  {
    Error_Handler();
  }

}

static void MX_DMA_Init(void)
{

  /* DMA controller clock enable */
  __HAL_RCC_DMA2_CLK_ENABLE();

}

static void MX_GPIO_Init(void)
{
  GPIO_InitTypeDef GPIO_InitStruct = {0};

  /* GPIO Ports Clock Enable */
  __HAL_RCC_GPIOC_CLK_ENABLE();
  __HAL_RCC_GPIOH_CLK_ENABLE();
  __HAL_RCC_GPIOA_CLK_ENABLE();
  __HAL_RCC_GPIOB_CLK_ENABLE();
  __HAL_RCC_GPIOE_CLK_ENABLE();
  __HAL_RCC_GPIOD_CLK_ENABLE();
  __HAL_RCC_GPIOG_CLK_ENABLE();

  /*Configure GPIO pin Output Level */
  HAL_GPIO_WritePin(GPIOB, LD1_Pin|LD3_Pin|LD2_Pin, GPIO_PIN_RESET);

  /*Configure GPIO pin Output Level */
  HAL_GPIO_WritePin(GPIOG, GPIO_PIN_6, GPIO_PIN_RESET);

  /*Configure GPIO pin : USER_Btn_Pin */
  GPIO_InitStruct.Pin = USER_Btn_Pin;
  GPIO_InitStruct.Mode = GPIO_MODE_IT_RISING;
  GPIO_InitStruct.Pull = GPIO_NOPULL;
  HAL_GPIO_Init(USER_Btn_GPIO_Port, &GPIO_InitStruct);

  /*Configure GPIO pins : LD1_Pin LD3_Pin LD2_Pin */
  GPIO_InitStruct.Pin = LD1_Pin|LD3_Pin|LD2_Pin;
  GPIO_InitStruct.Mode = GPIO_MODE_OUTPUT_PP;
  GPIO_InitStruct.Pull = GPIO_NOPULL;
  GPIO_InitStruct.Speed = GPIO_SPEED_FREQ_LOW;
  HAL_GPIO_Init(GPIOB, &GPIO_InitStruct);

  /*Configure GPIO pin : PG6 */
  GPIO_InitStruct.Pin = GPIO_PIN_6;
  GPIO_InitStruct.Mode = GPIO_MODE_OUTPUT_PP;
  GPIO_InitStruct.Pull = GPIO_NOPULL;
  GPIO_InitStruct.Speed = GPIO_SPEED_FREQ_LOW;
  HAL_GPIO_Init(GPIOG, &GPIO_InitStruct);

  /*Configure GPIO pin : USB_OverCurrent_Pin */
  GPIO_InitStruct.Pin = USB_OverCurrent_Pin;
  GPIO_InitStruct.Mode = GPIO_MODE_INPUT;
  GPIO_InitStruct.Pull = GPIO_NOPULL;
  HAL_GPIO_Init(USB_OverCurrent_GPIO_Port, &GPIO_InitStruct);

}

/* USER CODE BEGIN 4 */
float PID_Compute(PIDController *pid, float setpoint, float feedback, float dt) {
    float error = setpoint - feedback;
    pid->integral += error * dt;
    float derivative = (error - pid->prevError) / dt;

    pid->output = (pid->Kp * error) + (pid->Ki * pid->integral) + (pid->Kd * derivative);

    // Saturation
    if (pid->output > pid->maxOutput) pid->output = pid->maxOutput;
    if (pid->output < pid->minOutput) pid->output = pid->minOutput;

    pid->prevError = error;
    return pid->output;
}

float PI_Compute(PIController *pi, float setpoint, float feedback, float dt) {
    float error = setpoint - feedback;
    pi->integral += error * dt;

    pi->output = (pi->Kp * error) + (pi->Ki * pi->integral);

    // Saturation
    if (pi->output > pi->maxOutput) pi->output = pi->maxOutput;
    if (pi->output < pi->minOutput) pi->output = pi->minOutput;

    pi->prevError = error;
    return pi->output;
}
/* USER CODE END 4 */

void Error_Handler(void)
{
	__disable_irq();
	while (1)
	{
	}
}
